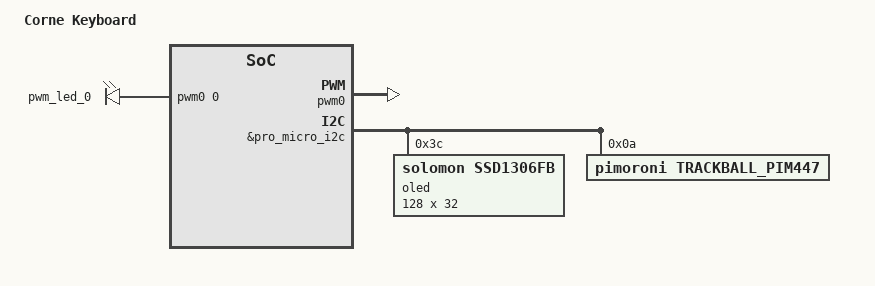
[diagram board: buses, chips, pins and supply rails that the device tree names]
/dts-v1/;  // Device Tree 버전 명시

#include "nice_nano.dtsi"  // 필요한 .dtsi 파일 포함
#include <dt-bindings/zmk/trackball_pim447.h>

/ {
    compatible = "nice,nano-v2";  // 보드 이름
    model = "Corne Keyboard";

    // PWM 설정
    pwm0 {
        status = "okay";
        pinctrl-0 = <&pwm0_default>;
        pinctrl-1 = <&pwm0_sleep>;
        pinctrl-names = "default", "sleep";
    };

    // 백라이트 설정
    backlight: pwmleds {
        compatible = "pwm-leds";
        pwm_led_0 {
            pwms = <&pwm0 0 PWM_MSEC(10) PWM_POLARITY_NORMAL>;
        };
    };

    // 선택된 노드
    chosen {
        zmk,backlight = &backlight;
    };

    // I2C 버스 설정
    #include "corne.dtsi"
    #include <dt-bindings/zmk/trackball_pim447.h> // for PIM447_MOVE and PIM447_SCROLL constants

    &pro_micro_i2c {
	status = "okay";

	oled: ssd1306@3c {
            compatible = "solomon,ssd1306fb";
            reg = <0x3c>;
            width = <128>;
            height = <32>;
            segment-offset = <0>;
            page-offset = <0>;
            display-offset = <0>;
            multiplex-ratio = <31>;
            segment-remap;
            com-invdir;
            com-sequential;
            inversion-on;
            prechargep = <0x22>;
    	};
        
        trackball_pim447@a {
	    compatible = "pimoroni,trackball_pim447";
	    reg = <0xa>;
	    label = "TRACKBALL_PIM447";
            move-factor = <2>;  // 포인터 속도 증가 (기본값: 1)
            invert-move-x;  // X 축 반전
            invert-move-y;  // Y 축 반전
            button = <1>;  // 볼을 눌렀을 때 오른쪽 클릭 전송
            swap-axes;  // X 및 Y 축 교환
            scroll-divisor = <1>;  // 휠 속도 증가 (기본값: 2)
            invert-scroll-x;  // 휠 X 축 반전
            invert-scroll-y;  // 휠 Y 축 반전
            mode = <PIM447_SCROLL>; // 시작 시 마우스 휠로 작동
	      };
     };
};
